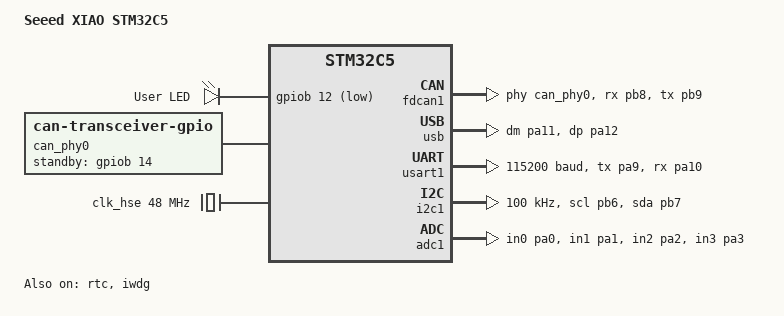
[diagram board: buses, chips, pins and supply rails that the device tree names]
/*
 * Copyright (c) 2025 Seeed Technology Co., Ltd.
 * SPDX-License-Identifier: Apache-2.0
 *
 * XIAO STM32C5 board definition.
 * MCU: STM32C5A3CG (UFQFPN48, Cortex-M33, 144MHz, 256KB SRAM, 1MB Flash)
 * Pin map extracted from schematic 04 XIAO Header&STM32C5.kicad_sch and
 * verified against STM32C5A3 datasheet DS15137-Rev1.
 *
 * UF2 bootloader constraint: application starts at 0x08008000 (32KB offset).
 * Flash partitions, chosen code-partition, and ROM_START_OFFSET MUST NOT
 * be modified — they are aligned with the TinyUF2 bootloader.
 */

/dts-v1/;
#include <st/c5/stm32c5a3Xg.dtsi>
#include <st/c5/stm32c5(9-a)3z(e-g)tx-pinctrl.dtsi>
#include <zephyr/dt-bindings/input/input-event-codes.h>
#include "seeed_xiao_connector.dtsi"

/ {
	model = "Seeed XIAO STM32C5";
	compatible = "seeed,xiao-stm32c5";

	chosen {
		zephyr,console = &usart1;
		zephyr,shell-uart = &usart1;
		zephyr,sram = &sram1;
		zephyr,flash = &flash0;
		zephyr,code-partition = &slot0_partition;
		zephyr,canbus = &fdcan1;
	};

	aliases {
		led0 = &user_led;
		watchdog0 = &iwdg;
		can0 = &fdcan1;
	};

	leds: leds {
		compatible = "gpio-leds";

		user_led: led_0 {
			gpios = <&gpiob 12 GPIO_ACTIVE_LOW>;
			label = "User LED";
		};
	};

	/*
	 * CAN transceiver: the standby pin (CAN_STB = PB14, XIAO D15) is
	 * driven LOW (inactive) during normal operation and HIGH (active)
	 * when the CAN bus is idle/disabled to reduce power consumption.
	 */
	can_phy0: can-phy0 {
		compatible = "can-transceiver-gpio";
		standby-gpios = <&gpiob 14 GPIO_ACTIVE_HIGH>;
		max-bitrate = <8000000>;
		#phy-cells = <0>;
	};
};

/*
 * FDCAN peripheral definitions.
 *
 * NOTE: The upstream Zephyr STM32C5 SoC DTSI (as of this writing) does not
 * yet define fdcan1/fdcan2 nodes. The definitions below are derived from
 * the STM32C5A3 CMSIS header (stm32c5a3xx.h):
 *   - FDCAN1_BASE  = APB1PERIPH_BASE + 0xA400 = 0x4000A400
 *   - FDCAN2_BASE  = APB1PERIPH_BASE + 0xA800 = 0x4000A800
 *   - SRAMCAN_BASE = APB1PERIPH_BASE + 0xAC00 = 0x4000AC00 (shared message RAM)
 *   - FDCAN1 interrupts: IT0 = 34, IT1 = 35
 *   - FDCAN2 interrupts: IT0 = 86, IT1 = 87
 *   - Clock enable: RCC_APB1HENR bit 9  ->  STM32_CLOCK(APB1_2, 9)
 *   - Kernel clock: CCIPR1 bits 27:26   ->  FDCAN_SEL()
 *     STM32C5 FDCAN supports PCLK1/PSIS/PSIK/HSE. Use PCLK1 here so the
 *     controller is clocked from an always-configured bus clock.
 *
 * When upstream Zephyr adds these nodes to the SoC DTSI, the full
 * definitions here can be removed, leaving only the board-specific
 * pinctrl/status overrides.
 */
/ {
	fdcan1: can@4000a400 {
		compatible = "st,stm32-fdcan";
		reg = <0x4000a400 0x400>, <0x4000ac00 0x350>;
		reg-names = "m_can", "message_ram";
		interrupt-parent = <&nvic>;
		interrupts = <34 0>, <35 0>;
		interrupt-names = "int0", "int1";
		clocks = <&rcc STM32_CLOCK(APB1_2, 9)>,
			 <&rcc STM32_SRC_PCLK1 FDCAN_SEL(0)>;
		bosch,mram-cfg = <0x0 28 8 3 3 0 3 3>;
		status = "disabled";
	};

	fdcan2: can@4000a800 {
		compatible = "st,stm32-fdcan";
		reg = <0x4000a800 0x400>, <0x4000ac00 0x350>;
		reg-names = "m_can", "message_ram";
		interrupt-parent = <&nvic>;
		interrupts = <86 0>, <87 0>;
		interrupt-names = "int0", "int1";
		clocks = <&rcc STM32_CLOCK(APB1_2, 9)>,
			 <&rcc STM32_SRC_PCLK1 FDCAN_SEL(0)>;
		bosch,mram-cfg = <0x350 28 8 3 3 0 3 3>;
		status = "disabled";
	};

	/*
	 * USB DRD FS controller (USB_DRD_FS).
	 * Base: 0x40016000, PMA: 0x40016400, IRQ: 62, Clock: APB2 bit 24.
	 * Kernel clock CK48 sourced from HSIDIV3 (HSI144/3 = 48 MHz) via
	 * CK48_SEL(2).  DM=PA11, DP=PA12 (fixed analog function, see pinctrl
	 * DTSI).
	 *
	 * Driven by Zephyr's standard UDC driver (udc_stm32.c). The upstream
	 * driver only gained STM32C5 HAL2 support after the 4.4.0 release
	 * (Zephyr PR #105957), so platform-seeedboards carries a patched copy
	 * of udc_stm32.c under zephyr/overrides/ that the builder applies
	 * onto the framework-zephyr package at build time.
	 */
	usb: usb@40016000 {
		compatible = "st,stm32-usb";
		reg = <0x40016000 0x400>;
		interrupt-parent = <&nvic>;
		interrupts = <62 0>;
		interrupt-names = "usb";
		num-bidir-endpoints = <8>;
		ram-size = <2048>;
		maximum-speed = "full-speed";
		pinctrl-0 = <&usb_dm_pa11 &usb_dp_pa12>;
		pinctrl-names = "default";
		clocks = <&rcc STM32_CLOCK(APB2, 24)>,
			 <&rcc STM32_SRC_CK48 CK48_SEL(2)>;
		status = "okay";
	};
};

&clk_hse {
	clock-frequency = <DT_FREQ_M(48)>;
	status = "okay";
};

&clk_hsidiv3 {
	status = "okay";
};

&clk_hsis {
	status = "okay";
};

&clk_lsi {
	status = "okay";
};

&flash0 {
	partitions {
		compatible = "fixed-partitions";
		#address-cells = <1>;
		#size-cells = <1>;

		/* TinyUF2 Bootloader: 32KB — DO NOT MODIFY */
		boot_partition: partition@0 {
			label = "uf2-bootloader";
			reg = <0x00000000 DT_SIZE_K(32)>;
		};

		/* Application slot: 488KB (aligned with UF2 layout) — DO NOT MODIFY */
		slot0_partition: partition@8000 {
			label = "image-0";
			reg = <0x00008000 DT_SIZE_K(488)>;
		};

		/* OTA slot: 480KB */
		slot1_partition: partition@82000 {
			label = "image-1";
			reg = <0x00082000 DT_SIZE_K(480)>;
		};

		/* Storage: 24KB */
		storage_partition: partition@fa000 {
			label = "storage";
			reg = <0x000fa000 DT_SIZE_K(24)>;
		};
	};
};

&usart1 {
	pinctrl-0 = <&usart1_tx_pa9 &usart1_rx_pa10>;
	pinctrl-names = "default";
	current-speed = <115200>;
	status = "okay";
};

&i2c1 {
	pinctrl-0 = <&i2c1_scl_pb6 &i2c1_sda_pb7>;
	pinctrl-names = "default";
	clock-frequency = <I2C_BITRATE_STANDARD>;
	status = "okay";
};

&adc1 {
	pinctrl-0 = <&adc1_in0_pa0 &adc1_in1_pa1 &adc1_in2_pa2 &adc1_in3_pa3>;
	pinctrl-names = "default";
	status = "okay";
};

&fdcan1 {
	pinctrl-0 = <&fdcan1_rx_pb8 &fdcan1_tx_pb9>;
	pinctrl-names = "default";
	phys = <&can_phy0>;
	status = "okay";
};

&rtc {
	clocks = <&rcc STM32_CLOCK(APB3, 21)>,
		 <&rcc STM32_SRC_LSI RTC_SEL(2)>;
	status = "okay";
};

&rcc {
	clocks = <&clk_hsis>;
	clock-frequency = <DT_FREQ_M(144)>;
	ahb-prescaler = <1>;
	apb1-prescaler = <2>;
	apb2-prescaler = <2>;
	apb3-prescaler = <2>;
};

&iwdg {
	status = "okay";
};

/* XIAO connector CAN alias (must be after fdcan1 definition above) */
xiao_can: &fdcan1 {};

/* USB device controller alias (standard Zephyr UDC) */
zephyr_udc0: &usb {};

/* CDC ACM UART: host-facing virtual serial port. The 1200-bps UF2 trigger
 * (uf2_dfu_reset module) listens for SET_LINE_CODING on this interface.
 */
&zephyr_udc0 {
	cdc_acm_uart0 {
		compatible = "zephyr,cdc-acm-uart";
		label = "Zephyr USB CDC-ACM";
	};
};
